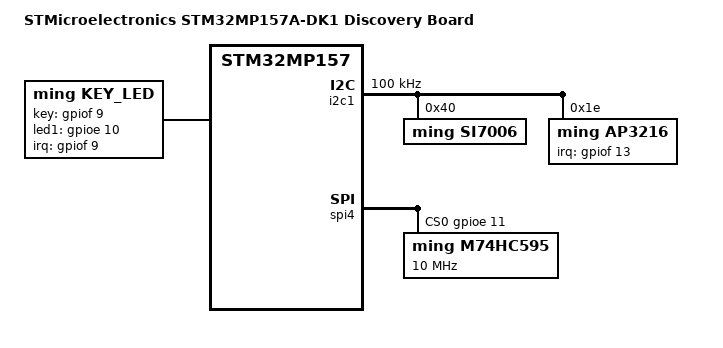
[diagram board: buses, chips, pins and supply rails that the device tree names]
// SPDX-License-Identifier: (GPL-2.0+ OR BSD-3-Clause)
/*
 * Copyright (C) STMicroelectronics 2019 - All Rights Reserved
 * Author: Alexandre Torgue <alexandre.torgue@st.com> for STMicroelectronics.
 */

/dts-v1/;

#include "stm32mp157.dtsi"
#include "stm32mp15xa.dtsi"
#include "stm32mp15-pinctrl.dtsi"
#include "stm32mp15xxac-pinctrl.dtsi"
#include "stm32mp15xx-fsmp1x.dtsi"

/ {
	model = "STMicroelectronics STM32MP157A-DK1 Discovery Board";
	compatible = "st,stm32mp157a-dk1", "st,stm32mp157";
    aliases {
        serial0 = &uart4;
        serial5 = &usart3;                                                                       
    };  
	chosen {
		stdout-path = "serial0:115200n8";
	};
    reserved-memory {
            gpu_reserved: gpu@d4000000 {
                  reg = <0xd4000000 0x4000000>;
                  no-map;
              };  

            optee_memory: optee@0xde000000 {
                  reg = <0xde000000 0x02000000>;
                  no-map;
              };                                                                                           
    };  
	node:mynode@0x12345678{
		compatible = "xiaomingmingbai,mynode";
		string = "DC23032 hello";
		uint   = <0x11223344 0xaabbccdd>;
		bindata = [00 0c 29 7b f9 be];
		mixeddata = "devicetree",<0x1234567>,[11 22 33];
	};
	myleds{
		core_leds{
			led1 = <&gpioz 5 0>;
			led2 = <&gpioz 6 0>;
			led3 = <&gpioz 7 0>;
		};
		extend_leds{
			led1 = <&gpioe 10 0>;
			led2 = <&gpiof 10 0>;
			led3 = <&gpioe 8 0>;
		};
	};
	myirqs{
		interrupt-parent = <&gpiof>;
		interrupts = <9 0>,<7 0>,<8 0>;
		keys = <&gpiof 9 0>;
	};
	key_led{
		compatible = "ming,key_led";
		interrupt-parent = <&gpiof>;
		interrupts = <9 0>;
		key_gpio = <&gpiof 9 0>;
		led1 = <&gpioe 10 0>;
	};
	myplatform{
		compatible = "ming,myplatform";
		reg = <0x12345678 49>;
		interrupt-parent = <&gpiof>;
		interrupts = <9 0>;
	};
};

&i2c1{
    pinctrl-names   = "default","sleep";
    pinctrl-0   = <&i2c1_pins_b>;      //工作状态：gpiof14和gpiof15复用为AF5功能
    pinctrl-1   = <&i2c1_sleep_pins_b>;//休眠状态：将管脚设置为ANALOG 
    clock-frequency = <100000>;        //i2c速率，默认就是100Khz
    i2c-scl-rising-time-ns = <185>;    //上升沿时间
    i2c-scl-falling-time-ns = <20>;    //下降沿时间
	status = "okay";                  //控制器使能

	si7006@40{                        //si7006节点
        compatible = "ming,si7006";   //和自己驱动匹配的名字
        reg = <0x40>;                 //从机地址
    };
	ap3216@1e{
		compatible = "ming,ap3216";
		reg = <0x1e>;
		interrupt-parent = <&gpiof>;
		interrupts = <13 0>;
	};
};

&spi4{
    pinctrl-names   = "default","sleep";
    pinctrl-0   = <&spi4_pins_b>;      //工作状态：E12 E13 E14复用为AF5功能
    pinctrl-1   = <&spi4_sleep_pins_b>;//休眠状态：将管脚设置为ANALOG 
    cs-gpios = <&gpioe 11 0>;          //片选管脚
	status = "okay";                   //将控制器使能
	
    m74hc595@0{
    	compatible = "ming,m74hc595";
        reg = <0>;
        spi-max-frequency = <10000000>; //10MHz
        //spi-cpol;         //cpol=1
        //spi-cpha;         //cpha=1
    };
};
